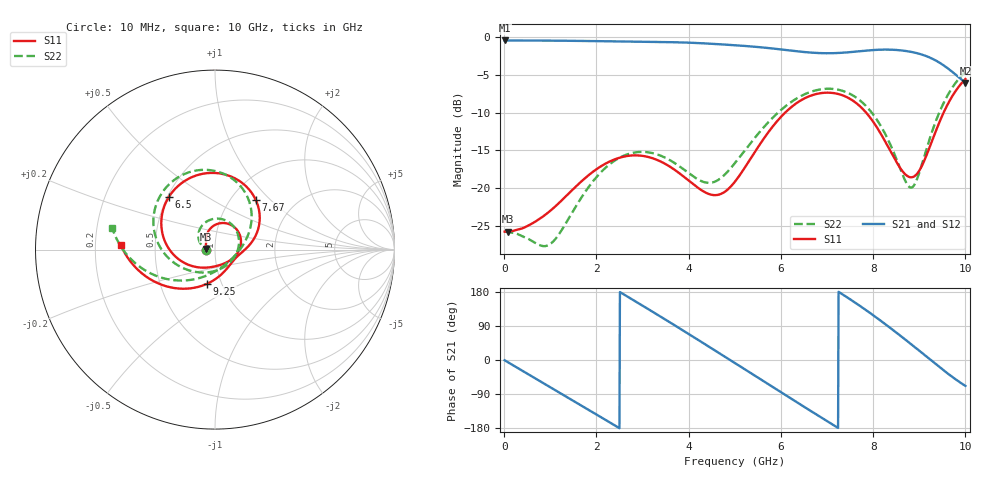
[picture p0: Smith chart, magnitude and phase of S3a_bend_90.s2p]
! kicad_em_sim: S-parameters of 2 ports, openEMS
# Hz S RI R 50
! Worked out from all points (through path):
!   1000 points, 10 MHz to 10 GHz, reference 50 ohm
!   highest |S21| = -0.48 dB at 10 MHz (marker M1); lowest = -6.1 dB at 10 GHz (marker M2)
!   group delay of S21, straight-line fit = 216 ps
!   lowest |S11| = -25.7 dB at 80 MHz (marker M3), VSWR 1.11, Z = 45.1 + j0.368 ohm
!   |S11| at or under -10 dB: start of sweep to 6.092 GHz; 7.847 GHz to 9.528 GHz (1.681 GHz wide, 19.3 % of centre)
!   |S22| runs from -27.6 to -4.6 dB; largest |S21 - S12| = 0.0034
!   S11 on the Smith chart (normalised r, x): 10 MHz: 0.90, +0.00; 6.5 GHz: 0.51, +0.36; 7.67 GHz: 1.29, +0.82; 9.25 GHz: 0.85, -0.34; 10 GHz: 0.31, +0.02
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1e7  -0.0518 0.000526  0.9464 -0.0119  0.9464 -0.0119  -0.0518 0.00048
8e7  -0.0516 0.00407  0.9415 -0.0945  0.9415 -0.0945  -0.0514 0.00368
4.9e8  -0.0507 0.0241  0.7741 -0.5428  0.7741 -0.5428  -0.0438 0.0167
9.4e8  -0.0495 0.0477  0.3644 -0.8721  0.3645 -0.8722  -0.0394 0.0146
1.68e9  -0.0344 0.1061  -0.478 -0.8098  -0.4784 -0.8101  -0.0807 0.0337
2.11e9  0.00636 0.1404  -0.8239 -0.4443  -0.8246 -0.4438  -0.092 0.0903
2.51e9  0.0641 0.1462  -0.9317 0.0113  -0.9317 0.0124  -0.0559 0.1497
2.91e9  0.1187 0.1145  -0.8047 0.463  -0.8036 0.4636  0.0192 0.1727
3.34e9  0.1447 0.0496  -0.4388 0.8144  -0.4378 0.8138  0.0996 0.1336
4.07e9  0.0951 -0.0519  0.4097 0.8166  0.4091 0.8163  0.1202 -0.0195
4.56e9  0.0289 -0.0855  0.8071 0.3932  0.8072 0.3935  0.0392 -0.1033
5.01e9  -0.0483 -0.1003  0.8701 -0.1305  0.8704 -0.1311  -0.0745 -0.1276
5.78e9  -0.2461 -0.0103  0.3125 -0.7802  0.3118 -0.7805  -0.2832 -0.0201
6.5e9  -0.2556 0.2957  -0.4366 -0.6634  -0.4381 -0.6631  -0.3235 0.2614
6.67e9  -0.1999 0.3594  -0.567 -0.5448  -0.5686 -0.5438  -0.2861 0.3288
7.19e9  0.0463 0.4206  -0.7788 -0.0621  -0.7783 -0.0593  -0.0797 0.4437
7.67e9  0.2272 0.2766  -0.6676 0.4434  -0.6642 0.444  0.1284 0.3682
8.34e9  0.1835 0.0162  0.0355 0.8227  0.0352 0.8206  0.1858 0.0854
8.83e9  0.0916 -0.0749  0.599 0.5228  0.5994 0.522  0.0612 -0.0806
9.25e9  -0.0446 -0.1906  0.7249 -0.00264  0.7239 -0.0053  -0.1456 -0.17
9.62e9  -0.3043 -0.1931  0.5011 -0.3635  0.4979 -0.3639  -0.3993 -0.1093
1e10  -0.5257 0.0268  0.1831 -0.4618  0.1816 -0.4601  -0.5736 0.1225
